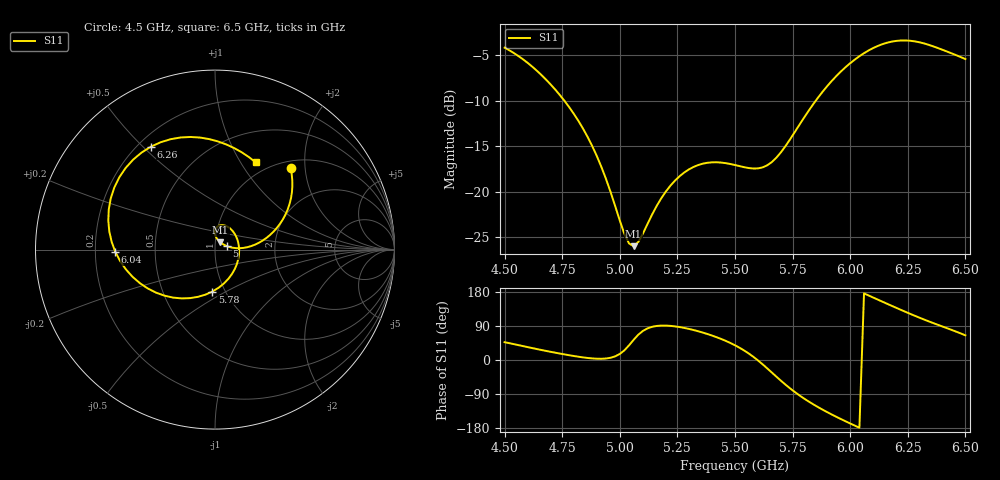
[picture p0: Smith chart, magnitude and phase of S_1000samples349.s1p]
! TOUCHSTONE file generated by CST MICROWAVE STUDIO
! Date and time: Thu Oct 27 20:58:06 2022
! Project name: L.cst
! Parameters = {Di=1.27; Epsilon_r=1.56; InnerDiameter=1.27; Length=2; Lf=10; Lg=60; OuterConductorThickness=0.2921; OuterDiameter=3.6; Wf=3; Wp=41.2; de=1.5; df=6.8; g=0.8; gx=0.91531; gy=1.12078; h=2.34; hf=1.524; px=11.2899; py=9.71429; w=9.7; wx=10.3746; wy=8.59351}
! Header version: 2018
! Port assignment regex: !\s*Touchstone port\s*([0-9]+)\s*=\s*(CST MWS port|CST DS port)\s*([0-9]+|Zmin|Zmax)\s*\(\"(.*)\"\)(\s*mode\s*([0-9]+))?.*
! Touchstone port assignment:
! Touchstone port 1 = CST MWS port 1 ("")
# GHz S DB R 50
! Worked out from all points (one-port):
!   101 points, 4.5 GHz to 6.5 GHz, reference 50 ohm
!   lowest |S11| = -26.0 dB at 5.06 GHz (marker M1), VSWR 1.11, Z = 52.9 + j4.29 ohm
!   |S11| at or under -10 dB: 4.76 GHz to 5.85 GHz (1.09 GHz wide, 20.6 % of centre)
!   S11 on the Smith chart (normalised r, x): 4.5 GHz: 1.14, +1.68; 5 GHz: 1.14, +0.04; 5.78 GHz: 0.87, -0.43; 6.04 GHz: 0.29, -0.01; 6.26 GHz: 0.25, +0.53; 6.5 GHz: 0.85, +1.16
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4.5  -4.17 47.0
4.62  -6.25 31.4
4.76  -10.01 14.8
4.88  -14.95 4.2
4.94  -18.57 3.9
5  -23.15 16.0
5.04  -25.65 38.6
5.06  -25.95 53.3
5.08  -25.50 66.6
5.18  -20.69 90.8
5.26  -18.27 86.9
5.36  -16.90 72.4
5.5  -17.05 38.9
5.64  -17.08 -22.2
5.76  -13.41 -84.7
5.78  -12.62 -93.5
5.84  -10.35 -117.1
5.9  -8.39 -137.5
6  -5.87 -167.5
6.04  -5.11 -178.7
6.1  -4.21 164.8
6.14  -3.78 153.9
6.2  -3.42 137.7
6.26  -3.41 121.9
6.3  -3.57 111.8
6.36  -4.02 97.5
6.42  -4.59 84.0
6.5  -5.42 65.0
